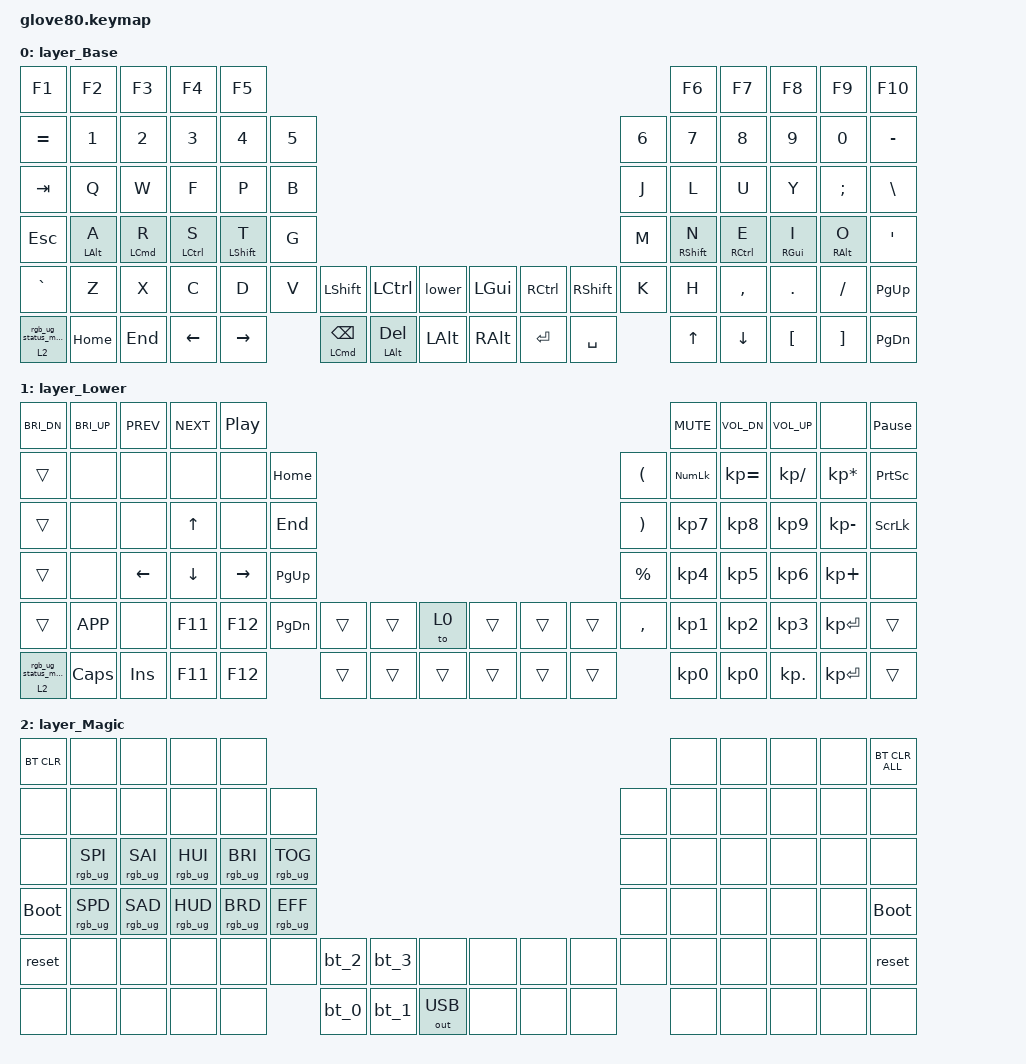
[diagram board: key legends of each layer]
/*
 * Copyright (c) 2020 The ZMK Contributors
 * Copyright (c) 2022 Innaworks Development Limited, trading as MoErgo
 *
 * SPDX-License-Identifier: MIT
 */
/* THIS FILE WAS GENERATED BY GLOVE80 LAYOUT EDITOR
 *
 * This file was generated automatically. You may or may not want to
 * edit it directly.
 */

#include <behaviors.dtsi>

/* Include all behaviour includes needed by system behaviors/macros */
/* Include behaviour includes needed by key binds - automatically generated */

#include <dt-bindings/zmk/bt.h>
#include <dt-bindings/zmk/keys.h>
#include <dt-bindings/zmk/outputs.h>
#include <dt-bindings/zmk/rgb.h>

/ {
    /* Glove80 system behavior & macros */

    behaviors {
        // For the "layer" key, it'd nice to be able to use it as either a shift or a toggle.
        // Configure it as a tap dance, so the first tap (or hold) is a &mo and the second tap is a &to

        lower: tap_dance_0 {
            compatible = "zmk,behavior-tap-dance";
            label = "LAYER_TAP_DANCE";
            #binding-cells = <0>;
            tapping-term-ms = <200>;
            bindings = <&mo 1>, <&to 1>;
        };
        hmt: homerow_mod_tap {
            compatible = "zmk,behavior-hold-tap";
            label = "HOMEROW_MOD_TAP";
            bindings = <&kp>, <&kp>;

            #binding-cells = <2>;
            tapping-term-ms = <250>;
            require-prior-idle-ms = <150>;
            flavor = "balanced";
        };
        hml: homerow_mod_left {
            compatible = "zmk,behavior-hold-tap";
            label = "HOMEROW_MOD_LEFT";
            #binding-cells = <2>;
            tapping-term-ms = <250>;
            quick-tap-ms = <175>;
            require-prior-idle-ms = <150>;
            flavor = "balanced";
            hold-trigger-key-positions = <16 17 18 19 28 29 30 31 40 41 42 43 58 59 60 61 20 21 32 33 44 45 62 72 73 74 69 70 54 53 52 71 55 56 57 75 76 77 78>;
            hold-trigger-on-release;
            bindings = <&kp>, <&kp>;
        };
        hmr: homerow_mod_right {
            compatible = "zmk,behavior-hold-tap";
            label = "HOMEROW_MOD_RIGHT";
            bindings = <&kp>, <&kp>;

            #binding-cells = <2>;
            tapping-term-ms = <250>;
            quick-tap-ms = <175>;
            require-prior-idle-ms = <150>;
            flavor = "balanced";
            hold-trigger-key-positions = <72 73 74 69 70 54 53 52 71 55 56 57 15 14 13 12 11 10 10 11 22 23 24 25 26 27 34 35 36 37 38 39 46 47 48 49 50 51 67 68>;
            hold-trigger-on-release;
        };
        tmt: thumb_mod_tap {
            compatible = "zmk,behavior-hold-tap";
            label = "THUMB_MOD_TAP";
            bindings = <&kp>, <&kp>;

            #binding-cells = <2>;
            tapping-term-ms = <200>;
            quick-tap-ms = <125>;
            require-prior-idle-ms = <150>;
            flavor = "balanced";
        };
    };
};

/ {
    macros {
        rgb_ug_status_macro: rgb_ug_status_macro_0 {
            label = "RGB_UG_STATUS";
            compatible = "zmk,behavior-macro";
            #binding-cells = <0>;
            bindings = <&rgb_ug RGB_STATUS>;
        };
        bt_0: bt_profile_macro_0 {
            label = "BT_0";
            compatible = "zmk,behavior-macro";
            #binding-cells = <0>;
            bindings = <&out OUT_BLE &bt BT_SEL 0>;
        };
        bt_1: bt_profile_macro_1 {
            label = "BT_1";
            compatible = "zmk,behavior-macro";
            #binding-cells = <0>;
            bindings = <&out OUT_BLE &bt BT_SEL 1>;
        };
        bt_2: bt_profile_macro_2 {
            label = "BT_2";
            compatible = "zmk,behavior-macro";
            #binding-cells = <0>;
            bindings = <&out OUT_BLE &bt BT_SEL 2>;
        };
        bt_3: bt_profile_macro_3 {
            label = "BT_3";
            compatible = "zmk,behavior-macro";
            #binding-cells = <0>;
            bindings = <&out OUT_BLE &bt BT_SEL 3>;
        };
    };
};

/ {
    magic: magic_hold_tap {
        compatible = "zmk,behavior-hold-tap";
        label = "MAGIC_HOLD_TAP";
        #binding-cells = <2>;
        flavor = "tap-preferred";
        tapping-term-ms = <200>;
        bindings = <&mo>, <&rgb_ug_status_macro>;
    };
};

/* #define for key positions */

#define POS_LH_T1 52
#define POS_LH_T2 53
#define POS_LH_T3 54
#define POS_LH_T4 69
#define POS_LH_T5 70
#define POS_LH_T6 71
#define POS_LH_C1R2 15
#define POS_LH_C1R3 27
#define POS_LH_C1R4 39
#define POS_LH_C1R5 51
#define POS_LH_C2R1 4
#define POS_LH_C2R2 14
#define POS_LH_C2R3 26
#define POS_LH_C2R4 38
#define POS_LH_C2R5 50
#define POS_LH_C2R6 68
#define POS_LH_C3R1 3
#define POS_LH_C3R2 13
#define POS_LH_C3R3 25
#define POS_LH_C3R4 37
#define POS_LH_C3R5 49
#define POS_LH_C3R6 67
#define POS_LH_C4R1 2
#define POS_LH_C4R2 12
#define POS_LH_C4R3 24
#define POS_LH_C4R4 36
#define POS_LH_C4R5 48
#define POS_LH_C4R6 66
#define POS_LH_C5R1 1
#define POS_LH_C5R2 11
#define POS_LH_C5R3 23
#define POS_LH_C5R4 35
#define POS_LH_C5R5 47
#define POS_LH_C5R6 65
#define POS_LH_C6R1 0
#define POS_LH_C6R2 10
#define POS_LH_C6R3 22
#define POS_LH_C6R4 34
#define POS_LH_C6R5 46
#define POS_LH_C6R6 64
#define POS_RH_T1 57
#define POS_RH_T2 56
#define POS_RH_T3 55
#define POS_RH_T4 74
#define POS_RH_T5 73
#define POS_RH_T6 72
#define POS_RH_C1R2 16
#define POS_RH_C1R3 28
#define POS_RH_C1R4 40
#define POS_RH_C1R5 58
#define POS_RH_C2R1 5
#define POS_RH_C2R2 17
#define POS_RH_C2R3 29
#define POS_RH_C2R4 41
#define POS_RH_C2R5 59
#define POS_RH_C2R6 75
#define POS_RH_C3R1 6
#define POS_RH_C3R2 18
#define POS_RH_C3R3 30
#define POS_RH_C3R4 42
#define POS_RH_C3R5 60
#define POS_RH_C3R6 76
#define POS_RH_C4R1 7
#define POS_RH_C4R2 19
#define POS_RH_C4R3 31
#define POS_RH_C4R4 43
#define POS_RH_C4R5 61
#define POS_RH_C4R6 77
#define POS_RH_C5R1 8
#define POS_RH_C5R2 20
#define POS_RH_C5R3 32
#define POS_RH_C5R4 44
#define POS_RH_C5R5 62
#define POS_RH_C5R6 78
#define POS_RH_C6R1 9
#define POS_RH_C6R2 21
#define POS_RH_C6R3 33
#define POS_RH_C6R4 45
#define POS_RH_C6R5 63
#define POS_RH_C6R6 79

/* Automatically generated layer name #define */

#define LAYER_Base 0
#define LAYER_Lower 1
#define LAYER_Magic 2

/* Custom Defined Behaviors */

/ {
};

/* Automatically generated keymap */

/ {
    keymap {
        compatible = "zmk,keymap";

        layer_Base {
            bindings = <
&kp F1      &kp F2           &kp F3               &kp F4               &kp F5                                                                                                                       &kp F6              &kp F7                &kp F8            &kp F9            &kp F10
&kp EQUAL   &kp N1           &kp N2               &kp N3               &kp N4             &kp N5                                                                                            &kp N6  &kp N7              &kp N8                &kp N9            &kp N0            &kp MINUS
&kp TAB     &kp Q            &kp W                &kp F                &kp P              &kp B                                                                                             &kp J   &kp L               &kp U                 &kp Y             &kp SEMI          &kp BSLH
&kp ESC     &hml LEFT_ALT A  &hml LEFT_COMMAND R  &hmt LEFT_CONTROL S  &hml LEFT_SHIFT T  &kp G                                                                                             &kp M   &hmr RIGHT_SHIFT N  &hmt RIGHT_CONTROL E  &hmr RIGHT_GUI I  &hmr RIGHT_ALT O  &kp SQT
&kp GRAVE   &kp Z            &kp X                &kp C                &kp D              &kp V   &kp LSHFT                    &kp LCTRL          &lower    &kp LGUI  &kp RCTRL  &kp RSHFT  &kp K   &kp H               &kp COMMA             &kp DOT           &kp FSLH          &kp PG_UP
&magic 2 0  &kp HOME         &kp END              &kp LEFT             &kp RIGHT                  &tmt LEFT_COMMAND BACKSPACE  &tmt LEFT_ALT DEL  &kp LALT  &kp RALT  &kp RET    &kp SPACE          &kp UP              &kp DOWN              &kp LBKT          &kp RBKT          &kp PG_DN
            >;
        };

        layer_Lower {
            bindings = <
&kp C_BRI_DN  &kp C_BRI_UP  &kp C_PREV      &kp C_NEXT      &kp C_PP                                                                                           &kp C_MUTE  &kp C_VOL_DN  &kp C_VOL_UP  &none            &kp PAUSE_BREAK
&trans        &none         &none           &none           &none            &kp HOME                                                   &kp LEFT_PARENTHESIS   &kp KP_NUM  &kp KP_EQUAL  &kp KP_SLASH  &kp KP_MULTIPLY  &kp PRINTSCREEN
&trans        &none         &none           &kp UP_ARROW    &none            &kp END                                                    &kp RIGHT_PARENTHESIS  &kp KP_N7   &kp KP_N8     &kp KP_N9     &kp KP_MINUS     &kp SCROLLLOCK
&trans        &none         &kp LEFT_ARROW  &kp DOWN_ARROW  &kp RIGHT_ARROW  &kp PG_UP                                                  &kp PERCENT            &kp KP_N4   &kp KP_N5     &kp KP_N6     &kp KP_PLUS      &none
&trans        &kp K_APP     &none           &kp F11         &kp F12          &kp PG_DN  &trans  &trans  &to 0   &trans  &trans  &trans  &kp COMMA              &kp KP_N1   &kp KP_N2     &kp KP_N3     &kp KP_ENTER     &trans
&magic 2 0    &kp CAPS      &kp INS         &kp F11         &kp F12                     &trans  &trans  &trans  &trans  &trans  &trans                         &kp KP_N0   &kp KP_N0     &kp KP_DOT    &kp KP_ENTER     &trans
            >;
        };

        layer_Magic {
            bindings = <
&bt BT_CLR   &none            &none            &none            &none                                                                                     &none  &none  &none  &none  &bt BT_CLR_ALL
&none        &none            &none            &none            &none            &none                                                             &none  &none  &none  &none  &none  &none
&none        &rgb_ug RGB_SPI  &rgb_ug RGB_SAI  &rgb_ug RGB_HUI  &rgb_ug RGB_BRI  &rgb_ug RGB_TOG                                                   &none  &none  &none  &none  &none  &none
&bootloader  &rgb_ug RGB_SPD  &rgb_ug RGB_SAD  &rgb_ug RGB_HUD  &rgb_ug RGB_BRD  &rgb_ug RGB_EFF                                                   &none  &none  &none  &none  &none  &bootloader
&reset       &none            &none            &none            &none            &none            &bt_2  &bt_3  &none         &none  &none  &none  &none  &none  &none  &none  &none  &reset
&none        &none            &none            &none            &none                             &bt_0  &bt_1  &out OUT_USB  &none  &none  &none         &none  &none  &none  &none  &none
            >;
        };
    };
};
